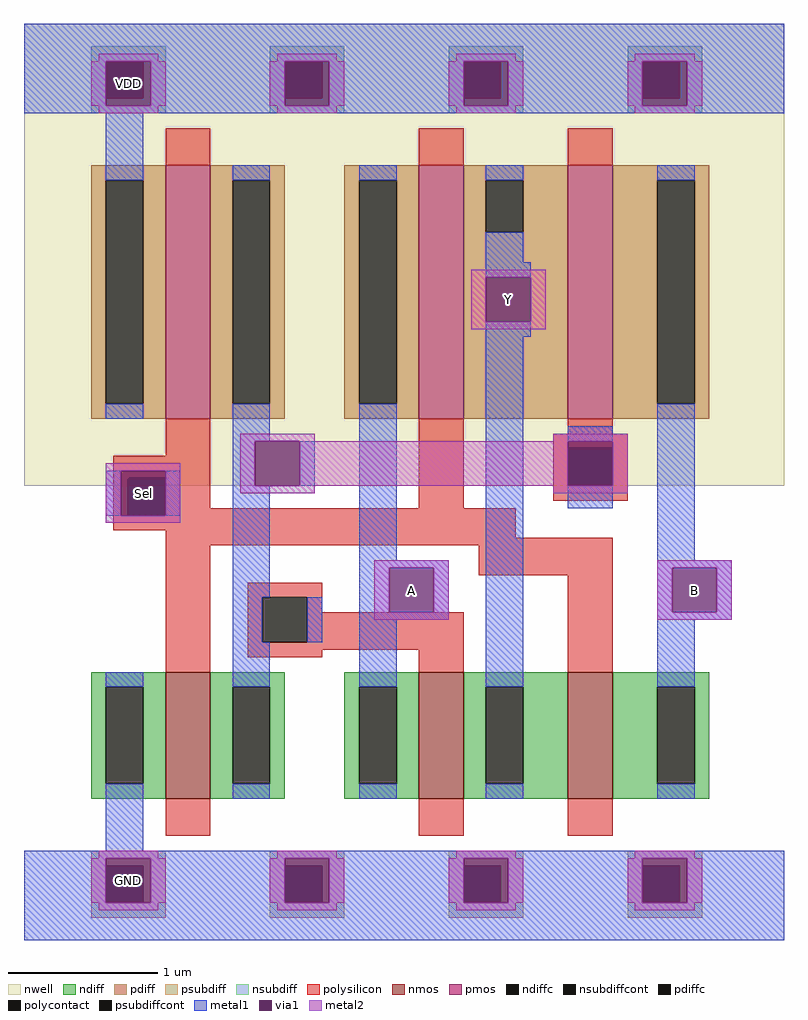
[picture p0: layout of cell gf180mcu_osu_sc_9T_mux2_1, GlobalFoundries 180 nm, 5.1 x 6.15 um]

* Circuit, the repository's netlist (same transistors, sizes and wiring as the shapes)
.option scale=0.05u

.subckt gf180mcu_osu_sc_9T_mux2_1 Y Sel A B
X0 Y a_25_19 A GND nmos_3p3 w=17 l=6
X1 a_25_19 Sel GND GND nmos_3p3 w=17 l=6
X2 Y Sel A VDD pmos_3p3 w=34 l=6
X3 a_25_19 Sel VDD VDD pmos_3p3 w=34 l=6
X4 B Sel Y GND nmos_3p3 w=17 l=6
X5 B a_25_19 Y VDD pmos_3p3 w=34 l=6
.ends

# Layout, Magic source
magic
tech gf180mcuC
<< nwell >>
rect -2 97 100 159
<< nmos >>
rect 17 55 23 72
rect 51 55 57 72
rect 71 55 77 72
<< pmos >>
rect 17 106 23 140
rect 51 106 57 140
rect 71 106 77 140
<< ndiff >>
rect 7 70 17 72
rect 7 57 9 70
rect 14 57 17 70
rect 7 55 17 57
rect 23 70 33 72
rect 23 57 26 70
rect 31 57 33 70
rect 23 55 33 57
rect 41 70 51 72
rect 41 57 43 70
rect 48 57 51 70
rect 41 55 51 57
rect 57 70 71 72
rect 57 57 60 70
rect 65 57 71 70
rect 57 55 71 57
rect 77 70 90 72
rect 77 57 83 70
rect 88 57 90 70
rect 77 55 90 57
<< pdiff >>
rect 7 138 17 140
rect 7 108 9 138
rect 14 108 17 138
rect 7 106 17 108
rect 23 138 33 140
rect 23 108 26 138
rect 31 108 33 138
rect 23 106 33 108
rect 41 138 51 140
rect 41 108 43 138
rect 48 108 51 138
rect 41 106 51 108
rect 57 138 71 140
rect 57 131 60 138
rect 65 131 71 138
rect 57 106 71 131
rect 77 138 90 140
rect 77 108 83 138
rect 88 108 90 138
rect 77 106 90 108
<< ndiffc >>
rect 9 57 14 70
rect 26 57 31 70
rect 43 57 48 70
rect 60 57 65 70
rect 83 57 88 70
<< pdiffc >>
rect 9 108 14 138
rect 26 108 31 138
rect 43 108 48 138
rect 60 131 65 138
rect 83 108 88 138
<< psubdiff >>
rect 7 46 17 48
rect 7 41 9 46
rect 14 41 17 46
rect 7 39 17 41
rect 31 46 41 48
rect 31 41 33 46
rect 38 41 41 46
rect 31 39 41 41
rect 55 46 65 48
rect 55 41 57 46
rect 62 41 65 46
rect 55 39 65 41
rect 79 46 89 48
rect 79 41 81 46
rect 86 41 89 46
rect 79 39 89 41
<< nsubdiff >>
rect 7 154 17 156
rect 7 149 9 154
rect 14 149 17 154
rect 7 147 17 149
rect 31 154 41 156
rect 31 149 33 154
rect 38 149 41 154
rect 31 147 41 149
rect 55 154 65 156
rect 55 149 57 154
rect 62 149 65 154
rect 55 147 65 149
rect 79 154 89 156
rect 79 149 81 154
rect 86 149 89 154
rect 79 147 89 149
<< psubdiffcont >>
rect 9 41 14 46
rect 33 41 38 46
rect 57 41 62 46
rect 81 41 86 46
<< nsubdiffcont >>
rect 9 149 14 154
rect 33 149 38 154
rect 57 149 62 154
rect 81 149 86 154
<< polysilicon >>
rect 17 140 23 145
rect 51 140 57 145
rect 71 140 77 145
rect 17 101 23 106
rect 10 98 23 101
rect 10 93 12 98
rect 17 94 23 98
rect 51 94 57 106
rect 71 104 77 106
rect 69 102 79 104
rect 69 97 71 102
rect 77 97 79 102
rect 69 95 79 97
rect 17 93 64 94
rect 10 91 64 93
rect 17 90 64 91
rect 17 89 77 90
rect 17 72 23 89
rect 59 85 77 89
rect 28 82 38 84
rect 28 76 30 82
rect 36 80 38 82
rect 36 76 57 80
rect 28 75 57 76
rect 28 74 38 75
rect 51 72 57 75
rect 71 72 77 85
rect 17 50 23 55
rect 51 50 57 55
rect 71 50 77 55
<< polycontact >>
rect 12 93 17 98
rect 71 97 77 102
rect 30 76 36 82
<< metal1 >>
rect -2 154 100 159
rect -2 148 9 154
rect 15 148 33 154
rect 39 148 57 154
rect 63 148 81 154
rect 87 148 100 154
rect -2 147 100 148
rect 9 138 14 147
rect 9 106 14 108
rect 26 138 31 140
rect 26 103 31 108
rect 43 138 48 140
rect 9 93 11 99
rect 17 93 19 99
rect 26 97 29 103
rect 35 97 37 103
rect 26 82 31 97
rect 43 87 48 108
rect 60 138 65 140
rect 60 127 65 131
rect 83 138 88 140
rect 60 125 66 127
rect 60 117 66 119
rect 43 86 55 87
rect 26 76 30 82
rect 36 76 38 82
rect 43 80 47 86
rect 53 80 55 86
rect 43 79 55 80
rect 9 70 14 72
rect 9 48 14 57
rect 26 70 31 76
rect 26 55 31 57
rect 43 70 48 79
rect 43 55 48 57
rect 60 70 65 117
rect 71 103 77 105
rect 71 94 77 97
rect 60 55 65 57
rect 83 87 88 108
rect 83 86 93 87
rect 83 80 85 86
rect 91 80 93 86
rect 83 79 93 80
rect 83 70 88 79
rect 83 55 88 57
rect -2 47 100 48
rect -2 41 9 47
rect 15 41 33 47
rect 39 41 57 47
rect 63 41 81 47
rect 87 41 100 47
rect -2 36 100 41
<< via1 >>
rect 9 149 14 154
rect 14 149 15 154
rect 9 148 15 149
rect 33 149 38 154
rect 38 149 39 154
rect 33 148 39 149
rect 57 149 62 154
rect 62 149 63 154
rect 57 148 63 149
rect 81 149 86 154
rect 86 149 87 154
rect 81 148 87 149
rect 11 98 17 99
rect 11 93 12 98
rect 12 93 17 98
rect 29 97 35 103
rect 60 119 66 125
rect 47 80 53 86
rect 71 102 77 103
rect 71 97 77 102
rect 85 80 91 86
rect 9 46 15 47
rect 9 41 14 46
rect 14 41 15 46
rect 33 46 39 47
rect 33 41 38 46
rect 38 41 39 46
rect 57 46 63 47
rect 57 41 62 46
rect 62 41 63 46
rect 81 46 87 47
rect 81 41 86 46
rect 86 41 87 46
<< metal2 >>
rect 8 154 16 155
rect 32 154 40 155
rect 56 154 64 155
rect 80 154 88 155
rect 7 148 9 154
rect 15 148 17 154
rect 31 148 33 154
rect 39 148 41 154
rect 55 148 57 154
rect 63 148 65 154
rect 79 148 81 154
rect 87 148 89 154
rect 8 147 16 148
rect 32 147 40 148
rect 56 147 64 148
rect 80 147 88 148
rect 58 125 68 126
rect 58 119 60 125
rect 66 119 68 125
rect 58 118 68 119
rect 27 103 37 104
rect 69 103 79 104
rect 9 99 19 100
rect 9 93 11 99
rect 17 93 19 99
rect 27 97 29 103
rect 35 97 71 103
rect 77 97 79 103
rect 27 96 37 97
rect 69 96 79 97
rect 9 92 19 93
rect 45 86 55 87
rect 45 80 47 86
rect 53 80 55 86
rect 45 79 55 80
rect 83 86 93 87
rect 83 80 85 86
rect 91 80 93 86
rect 83 79 93 80
rect 8 47 16 48
rect 32 47 40 48
rect 56 47 64 48
rect 80 47 88 48
rect 7 41 9 47
rect 15 41 17 47
rect 31 41 33 47
rect 39 41 41 47
rect 55 41 57 47
rect 63 41 65 47
rect 79 41 81 47
rect 87 41 89 47
rect 8 40 16 41
rect 32 40 40 41
rect 56 40 64 41
rect 80 40 88 41
<< labels >>
rlabel metal2 12 151 12 151 1 VDD
rlabel metal2 12 44 12 44 1 GND
rlabel metal2 50 83 50 83 1 A
port 4 n
rlabel metal2 88 83 88 83 1 B
port 5 n
rlabel metal2 14 96 14 96 1 Sel
port 3 n
rlabel metal2 63 122 63 122 1 Y
port 2 n
<< end >>
